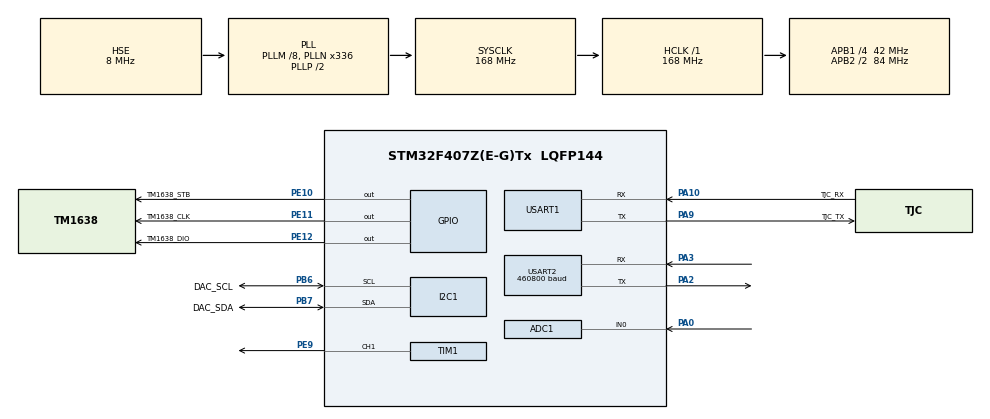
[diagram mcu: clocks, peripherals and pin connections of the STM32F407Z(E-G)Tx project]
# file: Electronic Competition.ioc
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ADC1.Channel-0\#ChannelRegularConversion=ADC_CHANNEL_0
ADC1.Channel-1\#ChannelInjectedConversion=ADC_CHANNEL_0
ADC1.InjNumberOfConversion=1
ADC1.InjectedOffset-1\#ChannelInjectedConversion=0
ADC1.InjectedRank-1\#ChannelInjectedConversion=1
ADC1.NbrOfConversionFlag=1
ADC1.Rank-0\#ChannelRegularConversion=1
ADC1.SamplingTime-0\#ChannelRegularConversion=ADC_SAMPLETIME_144CYCLES
ADC1.SamplingTime-1\#ChannelInjectedConversion=ADC_SAMPLETIME_3CYCLES
ADC1.master=1
I2C1.I2C_Mode=I2C_Standard
Mcu.Family=STM32F4
Mcu.Name=STM32F407Z(E-G)Tx
Mcu.Package=LQFP144
NVIC.PriorityGroup=NVIC_PRIORITYGROUP_4
NVIC.USART1_IRQn=true\:0\:0\:false\:false\:true\:true\:true\:true
PA0-WKUP.Signal=ADCx_IN0
PA10.GPIO_Label=TJC_RX
PA10.GPIO_PuPd=GPIO_PULLUP
PA10.Mode=Asynchronous
PA10.Signal=USART1_RX
PA13.Mode=Serial_Wire
PA13.Signal=SYS_JTMS-SWDIO
PA14.Mode=Serial_Wire
PA14.Signal=SYS_JTCK-SWCLK
PA2.Mode=Asynchronous
PA2.Signal=USART2_TX
PA3.Mode=Asynchronous
PA3.Signal=USART2_RX
PA9.GPIO_Label=TJC_TX
PA9.GPIO_PuPd=GPIO_PULLUP
PA9.Mode=Asynchronous
PA9.Signal=USART1_TX
PB6.GPIO_Label=DAC_SCL
PB6.GPIO_Mode=GPIO_MODE_AF_OD
PB6.GPIO_Pu=GPIO_PULLUP
PB6.Mode=I2C
PB6.Signal=I2C1_SCL
PB7.GPIO_Label=DAC_SDA
PB7.GPIO_Pu=GPIO_PULLUP
PB7.Mode=I2C
PB7.Signal=I2C1_SDA
PE10.GPIO_Label=TM1638_STB
PE10.GPIO_ModeDefaultOutputPP=GPIO_MODE_OUTPUT_OD
PE10.GPIO_PuPd=GPIO_PULLUP
PE10.GPIO_Speed=GPIO_SPEED_FREQ_MEDIUM
PE10.PinState=GPIO_PIN_SET
PE10.Signal=GPIO_Output
PE11.GPIO_Label=TM1638_CLK
PE11.GPIO_ModeDefaultOutputPP=GPIO_MODE_OUTPUT_OD
PE11.GPIO_PuPd=GPIO_PULLUP
PE11.GPIO_Speed=GPIO_SPEED_FREQ_MEDIUM
PE11.PinState=GPIO_PIN_SET
PE11.Signal=GPIO_Output
PE12.GPIO_Label=TM1638_DIO
PE12.GPIO_ModeDefaultOutputPP=GPIO_MODE_OUTPUT_OD
PE12.GPIO_PuPd=GPIO_PULLUP
PE12.GPIO_Speed=GPIO_SPEED_FREQ_MEDIUM
PE12.PinState=GPIO_PIN_SET
PE12.Signal=GPIO_Output
PE9.GPIO_Speed=GPIO_SPEED_FREQ_VERY_HIGH
PE9.Signal=S_TIM1_CH1
PH0-OSC_IN.Mode=HSE-External-Oscillator
PH0-OSC_IN.Signal=RCC_OSC_IN
PH1-OSC_OUT.Mode=HSE-External-Oscillator
PH1-OSC_OUT.Signal=RCC_OSC_OUT
ProjectManager.HeapSize=0x200
ProjectManager.StackSize=0x400
ProjectManager.TargetToolchain=STM32CubeIDE
RCC.48MHZClocksFreq_Value=84000000
RCC.AHBFreq_Value=168000000
RCC.APB1CLKDivider=RCC_HCLK_DIV4
RCC.APB1Freq_Value=42000000
RCC.APB1TimFreq_Value=84000000
RCC.APB2CLKDivider=RCC_HCLK_DIV2
RCC.APB2Freq_Value=84000000
RCC.APB2TimFreq_Value=168000000
RCC.CortexFreq_Value=168000000
RCC.HCLKFreq_Value=168000000
RCC.HSE_VALUE=8000000
RCC.HSI_VALUE=16000000
RCC.LSE_VALUE=32768
RCC.PLLM=8
RCC.PLLN=336
RCC.PLLSourceVirtual=RCC_PLLSOURCE_HSE
RCC.SYSCLKFreq_VALUE=168000000
RCC.SYSCLKSource=RCC_SYSCLKSOURCE_PLLCLK
RCC.VCOOutputFreq_Value=336000000
SH.ADCx_IN0.0=ADC1_IN0,IN0
SH.S_TIM1_CH1.0=TIM1_CH1,PWM Generation1 CH1
TIM1.AutoReloadPreload=TIM_AUTORELOAD_PRELOAD_ENABLE
TIM1.Channel-PWM\ Generation1\ CH1=TIM_CHANNEL_1
TIM1.Period=209
TIM1.Prescaler=0
TIM1.Pulse-PWM\ Generation1\ CH1=105
USART1.VirtualMode=VM_ASYNC
USART2.BaudRate=460800
USART2.VirtualMode=VM_ASYNC
VP_TIM1_VS_ClockSourceINT.Mode=Internal
board=custom

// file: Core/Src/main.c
/* USER CODE BEGIN Header */
/**
  ******************************************************************************
  * @file           : main.c
  * @brief          : Main program body
  ******************************************************************************
  * @attention
  *
  * Copyright (c) 2026 STMicroelectronics.
  * All rights reserved.
  *
  * This software is licensed under terms that can be found in the LICENSE file
  * in the root directory of this software component.
  * If no LICENSE file comes with this software, it is provided AS-IS.
  *
  ******************************************************************************
  */
/* USER CODE END Header */
#include "main.h"
#include "adc.h"
#include "i2c.h"
#include "tim.h"
#include "usart.h"
#include "gpio.h"

/* USER CODE BEGIN Includes */
#include "FPGA_UART.h"
#include "TJC_SCREEN.h"
#include <stdarg.h>
#include <stdio.h>
#include <string.h>
#include <math.h>
#include "stdint.h"
/* USER CODE END Includes */

/* USER CODE BEGIN PTD */
typedef enum
{
  DISPLAY_TARGET_NONE = 0,
  DISPLAY_TARGET_TIME,
  DISPLAY_TARGET_FREQUENCY
} DisplayTarget_t;
/* USER CODE END PTD */

/* USER CODE BEGIN PD */
#define FPGA_MEASUREMENT_MODE              0x01U
#define FPGA_MEASUREMENT_REQUEST_TIMEOUT_MS 3000U
#define TIME_WAVEFORM_DC_OFFSET_MV         19.0f
/* USER CODE END PD */

/* USER CODE BEGIN PV */
uint8_t g_usart1_rx_byte = 0U;
uint8_t g_current_symbol = 0U;
uint8_t g_tjc_touch_command = 0U;
FPGA_SpectrumFeatures_t g_fpga_spectrum_features;
volatile uint8_t g_fpga_spectrum_features_ready = 0U;
static TJC_FrequencyPoint g_fpga_frequency_display[
    FPGA_MAX_COMPONENTS];
static TJC_TimePoint g_fpga_time_display[FPGA_MAX_WAVE_POINTS];
static DisplayTarget_t g_display_target = DISPLAY_TARGET_NONE;
static uint8_t g_measurement_pending = 0U;
static uint32_t g_measurement_request_tick = 0U;
/* USER CODE END PV */

void SystemClock_Config(void);

/* USER CODE BEGIN 0 */
static void App_StartMeasurement(DisplayTarget_t target)
{
    if ((target == DISPLAY_TARGET_NONE)
        || (g_measurement_pending != 0U)) {
        return;
    }

    if (FPGA_UART_RequestMeasurement(FPGA_MEASUREMENT_MODE) == HAL_OK) {
        g_display_target = target;
        g_measurement_pending = 1U;
        g_measurement_request_tick = HAL_GetTick();
        g_fpga_spectrum_features_ready = 0U;
    }
}

static void App_StopDisplay(void)
{
    /*
     * Do not stop USART2 or the FPGA measurement engine.  If a result is
     * already in flight, it is still received and ACKed, but it is not drawn.
     */
    g_display_target = DISPLAY_TARGET_NONE;
}

static void App_HandleTouchCommand(uint8_t command)
{
    switch (command) {
    case TJC_TOUCH_CMD_TIME_START:
        App_StartMeasurement(DISPLAY_TARGET_TIME);
        break;

    case TJC_TOUCH_CMD_TIME_STOP:
    case TJC_TOUCH_CMD_FREQ_STOP:
        App_StopDisplay();
        break;

    case TJC_TOUCH_CMD_TIME_TOGGLE:
        (void)TJC_ToggleTimeDisplayCycles();
        break;

    case TJC_TOUCH_CMD_FREQ_START:
        App_StartMeasurement(DISPLAY_TARGET_FREQUENCY);
        break;

    default:
        break;
    }
}

static void App_FinishMeasurement(
    const FPGA_MeasureResult_t *measurement)
{
    HAL_StatusTypeDef display_status;
    uint16_t point_index;
    uint8_t component_index;

    if ((measurement == NULL) || (g_measurement_pending == 0U)) {
        g_measurement_pending = 0U;
        g_display_target = DISPLAY_TARGET_NONE;
        return;
    }

    if (g_display_target == DISPLAY_TARGET_NONE) {
        g_measurement_pending = 0U;
        return;
    }

    if (!FPGA_UART_ExtractSpectrumFeatures(
            measurement, &g_fpga_spectrum_features)) {
        g_measurement_pending = 0U;
        g_display_target = DISPLAY_TARGET_NONE;
        return;
    }

    g_fpga_spectrum_features_ready = 1U;

    if (g_display_target == DISPLAY_TARGET_TIME) {
        for (point_index = 0U;
             point_index < measurement->wave_point_count;
             ++point_index) {
            g_fpga_time_display[point_index].time_ms =
                ((float)point_index
                 * (float)measurement->sample_interval_ns)
                / 1000000.0f;
            g_fpga_time_display[point_index].voltage_mv =
                (float)measurement->waveform_001mv[point_index]
                * 0.01f
                - TIME_WAVEFORM_DC_OFFSET_MV;
        }

        display_status = TJC_UpdateTimeDomain(
            g_fpga_time_display,
            measurement->wave_point_count,
            0.0f,
            (float)measurement->vpp_001mv * 0.01f,
            (float)measurement->vrms_001mv * 0.01f,
            (float)g_fpga_spectrum_features.frequency_hz[0]);
        if (display_status != HAL_OK) {
            HAL_Delay(10U);
            (void)TJC_UpdateTimeDomain(
                g_fpga_time_display,
                measurement->wave_point_count,
                0.0f,
                (float)measurement->vpp_001mv * 0.01f,
                (float)measurement->vrms_001mv * 0.01f,
                (float)g_fpga_spectrum_features.frequency_hz[0]);
        }
    } else if (g_display_target == DISPLAY_TARGET_FREQUENCY) {
        for (component_index = 0U;
             component_index
                 < g_fpga_spectrum_features.component_count;
             ++component_index) {
            g_fpga_frequency_display[component_index].frequency_khz =
                (float)g_fpga_spectrum_features
                    .frequency_hz[component_index] / 1000.0f;
            g_fpga_frequency_display[component_index].amplitude_mv =
                (float)g_fpga_spectrum_features
                    .amplitude_001mv[component_index] * 0.01f;
        }

        display_status = TJC_UpdateFrequencyDomain(
            g_fpga_frequency_display,
            g_fpga_spectrum_features.component_count,
            500.0f,
            300.0f);
        if (display_status != HAL_OK) {
            HAL_Delay(10U);
            (void)TJC_UpdateFrequencyDomain(
                g_fpga_frequency_display,
                g_fpga_spectrum_features.component_count,
                500.0f,
                300.0f);
        }
    }

    /*
     * One START corresponds to exactly one accepted result and one screen
     * update.  A later refresh requires the user to press Start again.
     */
    g_measurement_pending = 0U;
    g_display_target = DISPLAY_TARGET_NONE;
}

void LTC1069_SetClock(uint32_t target_clk_hz)
{
    // 增加安全防护：限制频率在合理范围内 (例如：3kHz 到 2MHz 时钟)
    // 防止除以 0 或超出定时器 16位 寄存器上限
    if(target_clk_hz < 3000 || target_clk_hz > 2000000) return;

    // STM32F407 APB2 定时器时钟为 168MHz
    // 计算需要的总分频周期数 (ARR + 1)
    uint32_t period_ticks = 168000000 / target_clk_hz;

    // 计算实际的 ARR 和 CCR 值 (Pulse)
    uint32_t arr_val = period_ticks - 1;
    uint32_t ccr_val = period_ticks / 2; // 严格平分，保证 50% 占空比

    // 动态更新寄存器
    __HAL_TIM_SET_AUTORELOAD(&htim1, arr_val);
    __HAL_TIM_SET_COMPARE(&htim1, TIM_CHANNEL_1, ccr_val);

    // 手动触发一次更新事件，让影子寄存器的值立即生效
    // 防止由于 ARR 突变导致当前 PWM 周期输出畸变
    htim1.Instance->EGR = TIM_EGR_UG;
}
/* USER CODE END 0 */

int main(void)
{

  /* MCU Configuration--------------------------------------------------------*/

  /* Reset of all peripherals, Initializes the Flash interface and the Systick. */
  HAL_Init();

  /* Configure the system clock */
  SystemClock_Config();

  /* Initialize all configured peripherals */
  MX_GPIO_Init();
  MX_I2C1_Init();
  MX_TIM1_Init();
  MX_USART1_UART_Init();
  MX_ADC1_Init();
  MX_USART2_UART_Init();
  /* USER CODE BEGIN 2 */
  if (TJC_Init() != HAL_OK)
  {
      Error_Handler();
  }

  if (FPGA_UART_Init() != HAL_OK)
  {
      Error_Handler();
  }

  /* Wait for the serial screen to finish booting. */
  HAL_Delay(1000);
  /* USER CODE END 2 */

  /* Infinite loop */
  /* USER CODE BEGIN WHILE */
  while (1)
  {
    const FPGA_MeasureResult_t *measurement;

    FPGA_UART_Process();

    if (FPGA_UART_HasNewMeasurement())
    {
      measurement = FPGA_UART_GetMeasurement();
      App_FinishMeasurement(measurement);
      FPGA_UART_ClearNewMeasurement();
    }

    if (TJC_GetTouchCommand(&g_tjc_touch_command)) {
      App_HandleTouchCommand(g_tjc_touch_command);
    }

    if ((g_measurement_pending != 0U)
        && ((HAL_GetTick() - g_measurement_request_tick)
            >= FPGA_MEASUREMENT_REQUEST_TIMEOUT_MS)) {
      /*
       * Release the UI after a missing result. USART2 remains active, so a
       * late frame can still be parsed and ACKed without refreshing the page.
       */
      g_measurement_pending = 0U;
      g_display_target = DISPLAY_TARGET_NONE;
    }

    /* USER CODE END WHILE */

  }
}

void SystemClock_Config(void)
{
  RCC_OscInitTypeDef RCC_OscInitStruct = {0};
  RCC_ClkInitTypeDef RCC_ClkInitStruct = {0};

  /** Configure the main internal regulator output voltage
  */
  __HAL_RCC_PWR_CLK_ENABLE();
  __HAL_PWR_VOLTAGESCALING_CONFIG(PWR_REGULATOR_VOLTAGE_SCALE1);

  /** Initializes the RCC Oscillators according to the specified parameters
  * in the RCC_OscInitTypeDef structure.
  */
  RCC_OscInitStruct.OscillatorType = RCC_OSCILLATORTYPE_HSE;
  RCC_OscInitStruct.HSEState = RCC_HSE_ON;
  RCC_OscInitStruct.PLL.PLLState = RCC_PLL_ON;
  RCC_OscInitStruct.PLL.PLLSource = RCC_PLLSOURCE_HSE;
  RCC_OscInitStruct.PLL.PLLM = 8;
  RCC_OscInitStruct.PLL.PLLN = 336;
  RCC_OscInitStruct.PLL.PLLP = RCC_PLLP_DIV2;
  RCC_OscInitStruct.PLL.PLLQ = 4;
  if (HAL_RCC_OscConfig(&RCC_OscInitStruct) != HAL_OK)
  {
    Error_Handler();
  }

  /** Initializes the CPU, AHB and APB buses clocks
  */
  RCC_ClkInitStruct.ClockType = RCC_CLOCKTYPE_HCLK|RCC_CLOCKTYPE_SYSCLK
                              |RCC_CLOCKTYPE_PCLK1|RCC_CLOCKTYPE_PCLK2;
  RCC_ClkInitStruct.SYSCLKSource = RCC_SYSCLKSOURCE_PLLCLK;
  RCC_ClkInitStruct.AHBCLKDivider = RCC_SYSCLK_DIV1;
  RCC_ClkInitStruct.APB1CLKDivider = RCC_HCLK_DIV4;
  RCC_ClkInitStruct.APB2CLKDivider = RCC_HCLK_DIV2;

  if (HAL_RCC_ClockConfig(&RCC_ClkInitStruct, FLASH_LATENCY_5) != HAL_OK)
  {
    Error_Handler();
  }
}

/* USER CODE BEGIN 4 */
/**
 * @brief 串口接收完成中断回调
 */
void HAL_UART_RxCpltCallback(UART_HandleTypeDef *huart)
{
    if (huart->Instance == USART1)
    {
        // 物理 Debug 指示：收到串口屏数据翻转状态 LED
        HAL_GPIO_TogglePin(GPIOF, GPIO_PIN_9);

        // 传入状态机解析
        TJC_UART_RxCpltCallback(g_usart1_rx_byte);

        // 重新挂起中断接收
        HAL_UART_Receive_IT(&huart1, &g_usart1_rx_byte, 1);
    }
}

/**
 * @brief 串口错误回调（彻底解锁 ORE 卡死问题）
 */
void HAL_UART_ErrorCallback(UART_HandleTypeDef *huart)
{
    if (huart->Instance == USART1)
    {
        __HAL_UART_CLEAR_OREFLAG(huart);
        __HAL_UART_CLEAR_NEFLAG(huart);
        __HAL_UART_CLEAR_FEFLAG(huart);

        // 重置 HAL 库内部状态码，防止中断挂起失败
        huart->ErrorCode = HAL_UART_ERROR_NONE;
        huart->RxState = HAL_UART_STATE_READY;

        HAL_UART_Receive_IT(&huart1, &g_usart1_rx_byte, 1);
    }
    else if (huart->Instance == USART2)
    {
        FPGA_UART_HandleError(huart);
    }
}
/* USER CODE END 4 */

void Error_Handler(void)
{
  __disable_irq();
  while (1)
  {
  }
}
